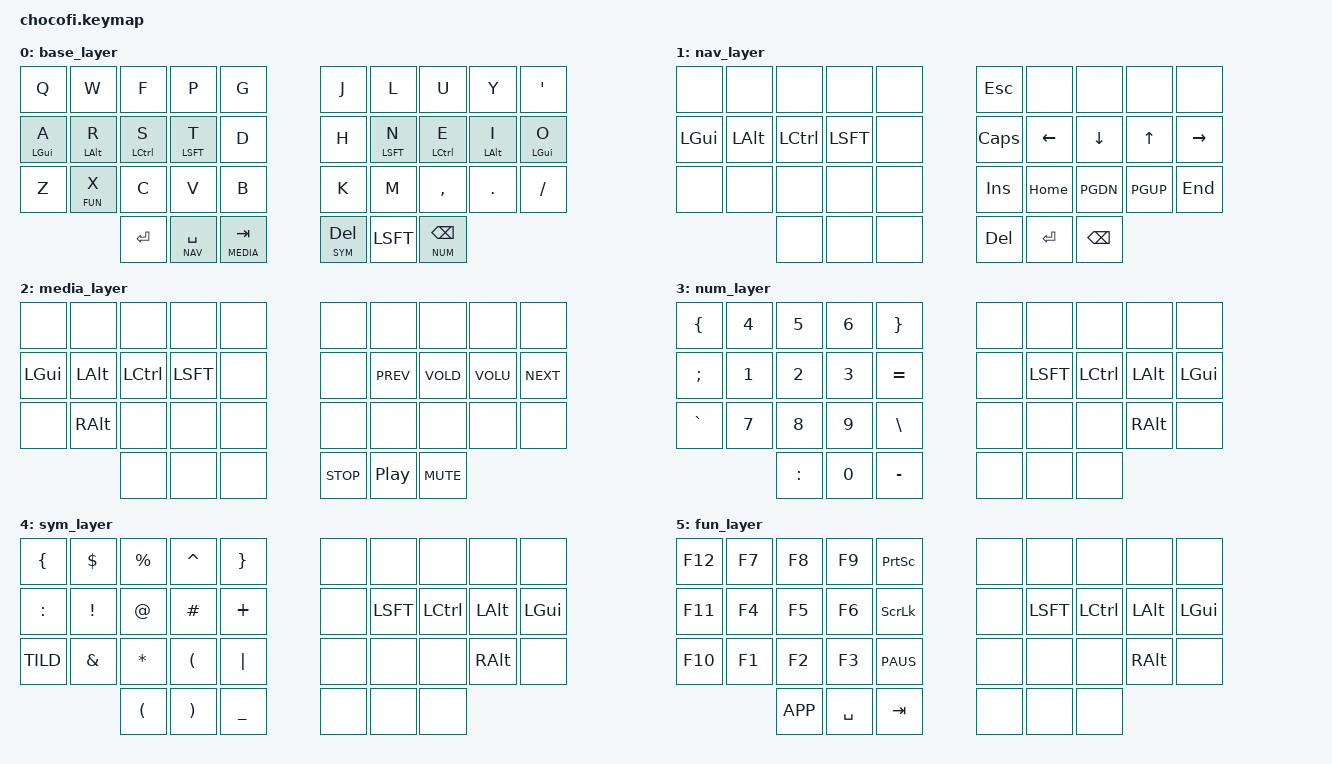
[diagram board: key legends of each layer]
// AUTO-GENERATED - DO NOT EDIT
// Generated from config/keymap.yaml
// Board: Chocofi
// Shield: chocofi

#include <behaviors.dtsi>
#include <dt-bindings/zmk/keys.h>
#include <dt-bindings/zmk/bt.h>
#include "dario_behaviors.dtsi"

#define BASE 0
#define NAV 1
#define MEDIA 2
#define NUM 3
#define SYM 4
#define FUN 5

/ {
    keymap {
        compatible = "zmk,keymap";

        base_layer {
            bindings = <
                &kp Q &kp W &kp F &kp P &kp G &kp J &kp L &kp U &kp Y &kp SQT
                &hml LGUI A &hml LALT R &hml LCTL S &hml LSFT T &kp D &kp H &hmr LSFT N &hmr LCTL E &hmr LALT I &hmr LGUI O
                &kp Z &lt FUN X &kp C &kp V &kp B &kp K &kp M &kp COMMA &kp DOT &kp FSLH
                &kp ENTER &lt NAV SPC &lt MEDIA TAB &lt SYM DEL &kp LSFT &lt NUM BSPC
            >;
        };

        nav_layer {
            bindings = <
                &none &none &none &none &none &kp ESC &none &none &none &none
                &kp LGUI &kp LALT &kp LCTL &kp LSFT &none &kp CAPS &kp LEFT &kp DOWN &kp UP &kp RIGHT
                &none &none &none &none &none &kp INS &kp HOME &kp PGDN &kp PGUP &kp END
                &none &none &none &kp DEL &kp ENTER &kp BSPC
            >;
        };

        media_layer {
            bindings = <
                &none &none &none &none &none &none &none &none &none &none
                &kp LGUI &kp LALT &kp LCTL &kp LSFT &none &none &kp C_PREV &kp VOLD &kp VOLU &kp C_NEXT
                &none &kp RALT &none &none &none &none &none &none &none &none
                &none &none &none &kp C_STOP &kp C_PLAY_PAUSE &kp C_MUTE
            >;
        };

        num_layer {
            bindings = <
                &kp LBRC &kp N4 &kp N5 &kp N6 &kp RBRC &none &none &none &none &none
                &kp SCLN &kp N1 &kp N2 &kp N3 &kp EQL &none &kp LSFT &kp LCTL &kp LALT &kp LGUI
                &kp GRAVE &kp N7 &kp N8 &kp N9 &kp BSLH &none &none &none &kp RALT &none
                &kp COLN &kp N0 &kp MINUS &none &none &none
            >;
        };

        sym_layer {
            bindings = <
                &kp LBRC &kp DOLLAR &kp PERCENT &kp CARET &kp RBRC &none &none &none &none &none
                &kp COLN &kp EXCL &kp AT &kp HASH &kp PLUS &none &kp LSFT &kp LCTL &kp LALT &kp LGUI
                &kp TILD &kp AMPERSAND &kp ASTERISK &kp LPRN &kp PIPE &none &none &none &kp RALT &none
                &kp LPRN &kp RPRN &kp UNDERSCORE &none &none &none
            >;
        };

        fun_layer {
            bindings = <
                &kp F12 &kp F7 &kp F8 &kp F9 &kp PRINTSCREEN &none &none &none &none &none
                &kp F11 &kp F4 &kp F5 &kp F6 &kp SCROLLLOCK &none &kp LSFT &kp LCTL &kp LALT &kp LGUI
                &kp F10 &kp F1 &kp F2 &kp F3 &kp PAUS &none &none &none &kp RALT &none
                &kp K_APP &kp SPC &kp TAB &none &none &none
            >;
        };
    };
};
